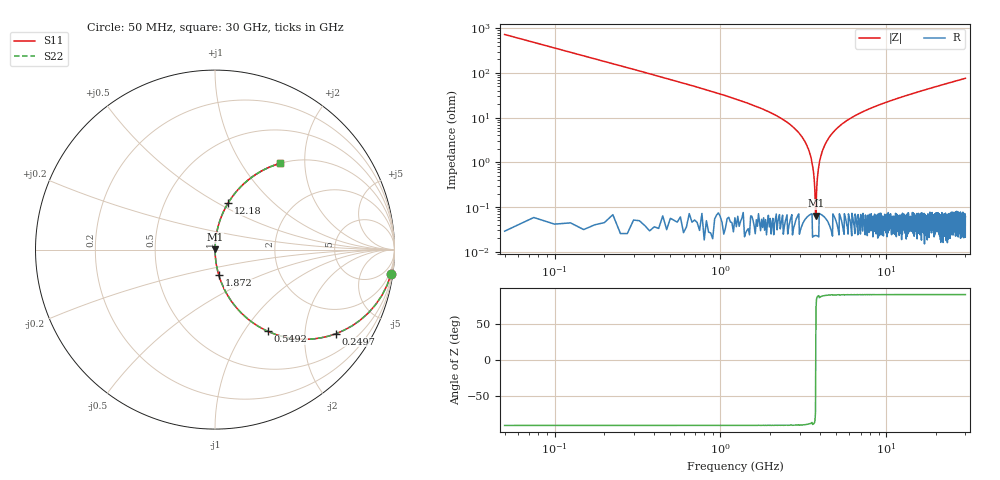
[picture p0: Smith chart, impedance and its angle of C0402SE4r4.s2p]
!	AVX Thin Film Operation 	Date: April 2014
!	Description: Accu-P® Series, Thin Film  SMD RF Capacitor
!	Part Number: 04025J4R4ABSTR
# MHZ S MA R 50
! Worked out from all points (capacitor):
!   1201 points, 50 MHz to 30 GHz, reference 50 ohm
!   read as one part in series: C = 4.4 pF near 199.8 MHz
!   lowest |Z| = 63.6 mohm at 3.769 GHz (marker M1)
!   series resonance near 3.757 GHz, so ESL is about 410 pH
!   S11 on the Smith chart (normalised r, x): 50 MHz: 1, -14; 249.7 MHz: 1.00, -2.89; 549.2 MHz: 1.00, -1.29; 1.872 GHz: 1.00, -0.29; 12.18 GHz: 1.00, +0.57; 30 GHz: 1.00, +1.51
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50  0.991 -7.9  0.137 82.1  0.137 82.1  0.991 -7.9
249.667  0.822 -34.7  0.57 55.3  0.57 55.3  0.822 -34.7
549.167  0.542 -57.2  0.84 32.8  0.84 32.8  0.542 -57.2
998.417  0.319 -71.3  0.947 18.6  0.947 18.6  0.319 -71.3
1871.958  0.144 -81.6  0.989 8.3  0.989 8.3  0.144 -81.6
2670.625  0.067 -85.8  0.997 3.8  0.997 3.8  0.067 -85.8
3169.792  0.033 -87.3  0.999 1.9  0.999 1.9  0.033 -87.3
3444.333  0.017 -87.5  0.999 1.0  0.999 1.0  0.017 -87.5
3544.167  0.011 -87.0  0.999 0.6  0.999 0.6  0.011 -87.0
3644  0.005908 -85.2  1 0.3  1 0.3  0.005908 -85.2
3768.792  0.0007492 52.1  1 -0.0  1 -0.0  0.0007492 52.1
3868.625  0.005643 85.0  1 -0.3  1 -0.3  0.005643 85.0
4018.375  0.013 87.2  0.999 -0.7  0.999 -0.7  0.013 87.2
4218.042  0.022 87.5  0.999 -1.3  0.999 -1.3  0.022 87.5
5041.667  0.057 86.3  0.998 -3.3  0.998 -3.3  0.057 86.3
6913.542  0.124 82.7  0.992 -7.1  0.992 -7.1  0.124 82.7
10058.29  0.216 77.4  0.976 -12.5  0.976 -12.5  0.216 77.4
12179.75  0.272 74.1  0.962 -15.8  0.962 -15.8  0.272 74.1
15025  0.339 70.1  0.94 -19.8  0.94 -19.8  0.339 70.1
20016.67  0.443 63.6  0.896 -26.3  0.896 -26.3  0.443 63.6
25033.29  0.531 57.9  0.847 -32.1  0.847 -32.1  0.531 57.9
30000  0.603 52.9  0.797 -37.1  0.797 -37.1  0.603 52.9
